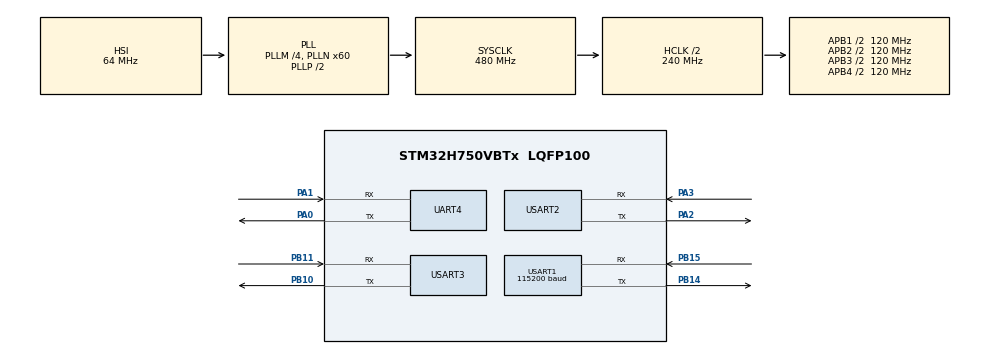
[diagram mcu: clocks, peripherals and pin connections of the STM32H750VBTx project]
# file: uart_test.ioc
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Mcu.Family=STM32H7
Mcu.Name=STM32H750VBTx
Mcu.Package=LQFP100
NVIC.PriorityGroup=NVIC_PRIORITYGROUP_4
NVIC.TIM1_BRK_IRQn=true\:1\:0\:true\:false\:true\:true\:true\:true
NVIC.TIM1_TRG_COM_IRQn=true\:1\:0\:true\:false\:true\:true\:true\:true
NVIC.TIM1_UP_IRQn=true\:1\:0\:true\:false\:true\:true\:true\:true
NVIC.UART4_IRQn=true\:1\:0\:true\:false\:true\:true\:true\:true
NVIC.USART1_IRQn=true\:1\:0\:true\:false\:true\:true\:true\:true
NVIC.USART2_IRQn=true\:2\:0\:true\:false\:true\:true\:true\:true
PA0.Mode=Asynchronous
PA0.Signal=UART4_TX
PA1.Mode=Asynchronous
PA1.Signal=UART4_RX
PA2.Mode=Asynchronous
PA2.Signal=USART2_TX
PA3.Mode=Asynchronous
PA3.Signal=USART2_RX
PB10.Mode=Asynchronous
PB10.Signal=USART3_TX
PB11.Mode=Asynchronous
PB11.Signal=USART3_RX
PB14.Mode=Asynchronous
PB14.Signal=USART1_TX
PB15.Mode=Asynchronous
PB15.Signal=USART1_RX
PC14-OSC32_IN\ (OSC32_IN).Mode=LSE-External-Oscillator
PC14-OSC32_IN\ (OSC32_IN).Signal=RCC_OSC32_IN
PC15-OSC32_OUT\ (OSC32_OUT).Mode=LSE-External-Oscillator
PC15-OSC32_OUT\ (OSC32_OUT).Signal=RCC_OSC32_OUT
PH0-OSC_IN\ (PH0).Mode=HSE-External-Oscillator
PH0-OSC_IN\ (PH0).Signal=RCC_OSC_IN
PH1-OSC_OUT\ (PH1).Mode=HSE-External-Oscillator
PH1-OSC_OUT\ (PH1).Signal=RCC_OSC_OUT
ProjectManager.HeapSize=0x200
ProjectManager.StackSize=0x400
ProjectManager.TargetToolchain=MDK-ARM V5.32
RCC.ADCFreq_Value=129000000
RCC.APB1Freq_Value=120000000
RCC.APB2Freq_Value=120000000
RCC.APB3Freq_Value=120000000
RCC.APB4Freq_Value=120000000
RCC.CortexFreq_Value=480000000
RCC.D1PPRE=RCC_APB3_DIV2
RCC.D2PPRE1=RCC_APB1_DIV2
RCC.D2PPRE2=RCC_APB2_DIV2
RCC.D3PPRE=RCC_APB4_DIV2
RCC.DIVM1=4
RCC.DIVN1=60
RCC.HCLKFreq_Value=240000000
RCC.HPRE=RCC_HCLK_DIV2
RCC.PLL2FRACN=0
RCC.PLL3FRACN=0
RCC.PLLFRACN=0
RCC.SYSCLKFreq_VALUE=480000000
RCC.SYSCLKSource=RCC_SYSCLKSOURCE_PLLCLK
RCC.USBFreq_Value=480000000
TIM1.AutoReloadPreload=TIM_AUTORELOAD_PRELOAD_ENABLE
TIM1.Period=10000
TIM1.Prescaler=48000
USART1.BaudRate=115200
USART1.VirtualMode-Asynchronous=VM_ASYNC
USART2.VirtualMode-Asynchronous=VM_ASYNC
USART3.VirtualMode-Asynchronous=VM_ASYNC
VP_MEMORYMAP_VS_MEMORYMAP.Mode=CurAppReg
VP_TIM1_VS_ClockSourceINT.Mode=Internal
board=custom

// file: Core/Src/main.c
/* USER CODE BEGIN Header */
/**
  ******************************************************************************
  * @file           : main.c
  * @brief          : Main program body
  ******************************************************************************
  * @attention
  *
  * Copyright (c) 2025 STMicroelectronics.
  * All rights reserved.
  *
  * This software is licensed under terms that can be found in the LICENSE file
  * in the root directory of this software component.
  * If no LICENSE file comes with this software, it is provided AS-IS.
  *
  ******************************************************************************
  */
/* USER CODE END Header */
#include "main.h"
#include "memorymap.h"
#include "tim.h"
#include "usart.h"
#include "gpio.h"

/* USER CODE BEGIN Includes */
#include "stdio.h"
#include "string.h"

/* USER CODE END Includes */

/* USER CODE BEGIN PD */

uint8_t RData[255] = {0};
uint8_t RData_Tap = 0;
uint8_t RDataBuffer;
uint8_t RData_Flag = 0;

uint8_t RDataBuffer1;

uint8_t RData6[255] = {0};
uint8_t RData_Tap6 = 0;
uint8_t RDataBuffer6;
uint8_t RData_Flag6 = 0;

uint8_t TData[9] = {0};

int dataid_int = 0;
uint8_t strdataid_int[32] = {0};
float dataversion = 0 ;
uint8_t strdataversion[32] = {0};
uint8_t dataid[32] = {0};
float datavalue = 0;
uint8_t strdatavalue[32] = {0};

float imu_x = 0;
float imu_y = 0;
float imu_z = 0;
float dht11 = 0;
float humi = 0;
float temp = 0;
float ph = 0;
float cond = 0;
float turb = 0;
uint8_t timedata[] = "00:00";

/* USER CODE END PD */

/* USER CODE BEGIN PV */

int fputc(int ch, FILE *f)
{
  HAL_UART_Transmit(&huart1, (uint8_t *)&ch, 1, 0xffff);
  return ch;
}

void printf_string(char* name, char* showdata){
	printf("%s=\"%s\"\xff\xff\xff", name, showdata);
}

void printf_number(char* name, int num){
	printf("%s=%d\xff\xff\xff", name, num);
}

void printf_float(char* name, float num){
	printf("%s=%d\xff\xff\xff", name, (int)(num * 10000));
}

void HAL_UART_RxCpltCallback(UART_HandleTypeDef *huart)
{
		if(huart->Instance == USART1){
		RData[RData_Tap] = RDataBuffer;
		RData_Tap = RData_Tap + 1;
		if(RData[0] != 0x0A){
			RData_Tap = 0;
		}
		if((RData[RData_Tap-1] == 0x0A)&&(RData[RData_Tap-2] == 0x0D)){
			RData_Tap = 0;
			RData_Flag = 1;
		}
		HAL_UART_Receive_IT(&huart1, &RDataBuffer, sizeof(RDataBuffer));
	}
	if(huart->Instance == USART2){
		if(RDataBuffer1 == 'A'){
			printf_string("password.txt","123456");
		}
		HAL_UART_Receive_IT(&huart2, &RDataBuffer1, sizeof(RDataBuffer1));
	}
	if(huart->Instance == UART4){
		RData6[RData_Tap6] = RDataBuffer6;
		RData_Tap6 = RData_Tap6 + 1;
		if((RData6[RData_Tap6-1] == '}')&&(RData6[RData_Tap6-2] == '}')){
			RData_Flag6 = 1;
			RData_Tap6 = 0;
		}
		HAL_UART_Receive_IT(&huart4, &RDataBuffer6, sizeof(RDataBuffer6));
	}
}

void HAL_TIM_PeriodElapsedCallback(TIM_HandleTypeDef *htim)
{
	if(htim->Instance==TIM1){
		printf_string("t3.txt",(char*)timedata);
		printf_float("x0.val", imu_x);
		printf_float("x1.val", imu_y);
		printf_float("x2.val", imu_z);
		printf_float("x3.val", dht11);
		printf_float("x4.val", humi);
		printf_float("x5.val", temp);
		printf_float("x6.val", ph);
		printf_float("x7.val", cond);
		printf_float("x8.val", turb);
	}
}

/* USER CODE END PV */

void SystemClock_Config(void);

int main(void)
{

  /* MCU Configuration--------------------------------------------------------*/

  /* Reset of all peripherals, Initializes the Flash interface and the Systick. */
  HAL_Init();

  /* Configure the system clock */
  SystemClock_Config();

  /* Initialize all configured peripherals */
  MX_GPIO_Init();
  MX_USART1_UART_Init();
  MX_USART2_UART_Init();
  MX_USART3_UART_Init();
  MX_UART4_Init();
  MX_TIM1_Init();
  /* USER CODE BEGIN 2 */
	HAL_UART_Receive_IT(&huart1, &RDataBuffer, sizeof(RDataBuffer));
	HAL_UART_Receive_IT(&huart2, &RDataBuffer1, sizeof(RDataBuffer1));
	HAL_UART_Receive_IT(&huart4, &RDataBuffer6, sizeof(RDataBuffer6));
	HAL_TIM_Base_Start_IT(&htim1);

  /* USER CODE END 2 */

  /* Infinite loop */
  /* USER CODE BEGIN WHILE */
  while (1)
  {

		if(RData_Flag == 1){
			if(RData[3] == 48){
				printf_string("t1.txt","STOP");
			}else{
				switch(RData[1]){
					case 0x00:
						printf_string("t1.txt","STOP");
						break;
					case 0x01:
						printf_string("t1.txt","AHEAD");
						break;
					case 0x02:
						printf_string("t1.txt","BEHIND");
						break;
					case 0x03:
						printf_string("t1.txt","LEFT");
						break;
					case 0x04:
						printf_string("t1.txt","RIGHT");
						break;
				}
			}

			if(RData[1]==0x0E){
				TData[0] = RData[2];
				TData[1] = RData[3] + 48;
			}else{
				TData[0] = RData[1] + 48;
				TData[1] = RData[2] + 48;
				TData[2] = RData[3] + 48;
				TData[3] = RData[4] + 48;
				TData[4] = RData[5] + 48;
				TData[5] = RData[6] + 48;
				TData[6] = RData[7] + 49;
				TData[7] = RData[8] + 48;
				TData[8] = RData[9] + 48;
			}

			if (RData[1]==0x0F){
				TData[0] = RData[1] + 48;
				TData[1] = RData[2] + 48;
				TData[2] = RData[3] - 48;
			}
			printf_number("n0.val",TData[1]-48);
			printf_number("n1.val",TData[3]-48);
			printf_number("n2.val",TData[4]-48);
			HAL_UART_Transmit(&huart3, TData, 9, 100);
			RData_Flag = 0;
		}

		if(RData_Flag6 == 1){
			sscanf((char *)RData6,"{\"id\":\"%d\",\"version\":\"%f\",\"params\":{\"%31[^\"]\":\"%[^\"]\"}}", &dataid_int, &dataversion, dataid, strdatavalue);

			if(strdatavalue[2] == ':'){
				printf_string("t3.txt",(char*)strdatavalue);
				timedata[0] = strdatavalue[0];
				timedata[1] = strdatavalue[1];
				timedata[2] = strdatavalue[2];
				timedata[3] = strdatavalue[3];
				timedata[4] = strdatavalue[4];
			}
			else{
				sscanf((char*)strdatavalue,"%f",&datavalue);
				uint8_t buffer[20];
				sprintf((char*)buffer, "%.4f", datavalue);
				sscanf((char*)buffer, "%f", &datavalue);
			}

			if(dataid[0] == 'i' && dataid[1] == 'm' && dataid[2] == 'u'){
				if(dataid[4] == 'x'){
					printf_float("x0.val", datavalue);
					imu_x = datavalue;
				}
				else if(dataid[4] == 'y'){
					printf_float("x1.val", datavalue);
					imu_y = datavalue;
				}
				else if(dataid[4] == 'z'){
					printf_float("x2.val", datavalue);
					imu_z = datavalue;
				}
			}
			else if(dataid[0] == 'd' && dataid[1] == 'h' && dataid[2] == 't'){
				printf_float("x3.val", datavalue);
				dht11 = datavalue;
			}
	 		else if(dataid[0] == 'h' && dataid[1] == 'u' && dataid[2] == 'm'){
				printf_float("x4.val", datavalue);
				humi = datavalue;
			}
			else if(dataid[0] == 't' && dataid[1] == 'e' && dataid[2] == 'm'){
				printf_float("x5.val", datavalue);
				temp = datavalue;
			}
			else if(dataid[0] == 'P' && dataid[1] == 'H' ){
				printf_float("x6.val", datavalue);
				ph = datavalue;
			}
			else if(dataid[0] == 'c' && dataid[1] == 'o' && dataid[2] == 'n'){
				printf_float("x7.val", datavalue);
				cond = datavalue;
			}
			else if(dataid[0] == 't' && dataid[1] == 'u' && dataid[2] == 'r'){
				printf_float("x8.val", datavalue);
				turb = datavalue;
			}
			memset(dataid, 0, sizeof(dataid));
			memset(strdatavalue, 0, sizeof(strdatavalue));

//			printf("%s\r\n%g\r\n", dataid, datavalue);
			RData_Flag6 = 0;
		}
    /* USER CODE END WHILE */

  }
}

void SystemClock_Config(void)
{
  RCC_OscInitTypeDef RCC_OscInitStruct = {0};
  RCC_ClkInitTypeDef RCC_ClkInitStruct = {0};

  /** Supply configuration update enable
  */
  HAL_PWREx_ConfigSupply(PWR_LDO_SUPPLY);

  /** Configure the main internal regulator output voltage
  */
  __HAL_PWR_VOLTAGESCALING_CONFIG(PWR_REGULATOR_VOLTAGE_SCALE0);

  while(!__HAL_PWR_GET_FLAG(PWR_FLAG_VOSRDY)) {}

  /** Initializes the RCC Oscillators according to the specified parameters
  * in the RCC_OscInitTypeDef structure.
  */
  RCC_OscInitStruct.OscillatorType = RCC_OSCILLATORTYPE_HSI;
  RCC_OscInitStruct.HSIState = RCC_HSI_DIV1;
  RCC_OscInitStruct.HSICalibrationValue = RCC_HSICALIBRATION_DEFAULT;
  RCC_OscInitStruct.PLL.PLLState = RCC_PLL_ON;
  RCC_OscInitStruct.PLL.PLLSource = RCC_PLLSOURCE_HSI;
  RCC_OscInitStruct.PLL.PLLM = 4;
  RCC_OscInitStruct.PLL.PLLN = 60;
  RCC_OscInitStruct.PLL.PLLP = 2;
  RCC_OscInitStruct.PLL.PLLQ = 2;
  RCC_OscInitStruct.PLL.PLLR = 2;
  RCC_OscInitStruct.PLL.PLLRGE = RCC_PLL1VCIRANGE_3;
  RCC_OscInitStruct.PLL.PLLVCOSEL = RCC_PLL1VCOWIDE;
  RCC_OscInitStruct.PLL.PLLFRACN = 0;
  if (HAL_RCC_OscConfig(&RCC_OscInitStruct) != HAL_OK)
  {
    Error_Handler();
  }

  /** Initializes the CPU, AHB and APB buses clocks
  */
  RCC_ClkInitStruct.ClockType = RCC_CLOCKTYPE_HCLK|RCC_CLOCKTYPE_SYSCLK
                              |RCC_CLOCKTYPE_PCLK1|RCC_CLOCKTYPE_PCLK2
                              |RCC_CLOCKTYPE_D3PCLK1|RCC_CLOCKTYPE_D1PCLK1;
  RCC_ClkInitStruct.SYSCLKSource = RCC_SYSCLKSOURCE_PLLCLK;
  RCC_ClkInitStruct.SYSCLKDivider = RCC_SYSCLK_DIV1;
  RCC_ClkInitStruct.AHBCLKDivider = RCC_HCLK_DIV2;
  RCC_ClkInitStruct.APB3CLKDivider = RCC_APB3_DIV2;
  RCC_ClkInitStruct.APB1CLKDivider = RCC_APB1_DIV2;
  RCC_ClkInitStruct.APB2CLKDivider = RCC_APB2_DIV2;
  RCC_ClkInitStruct.APB4CLKDivider = RCC_APB4_DIV2;

  if (HAL_RCC_ClockConfig(&RCC_ClkInitStruct, FLASH_LATENCY_4) != HAL_OK)
  {
    Error_Handler();
  }
}

void Error_Handler(void)
{
  __disable_irq();
  while (1)
  {
  }
}
